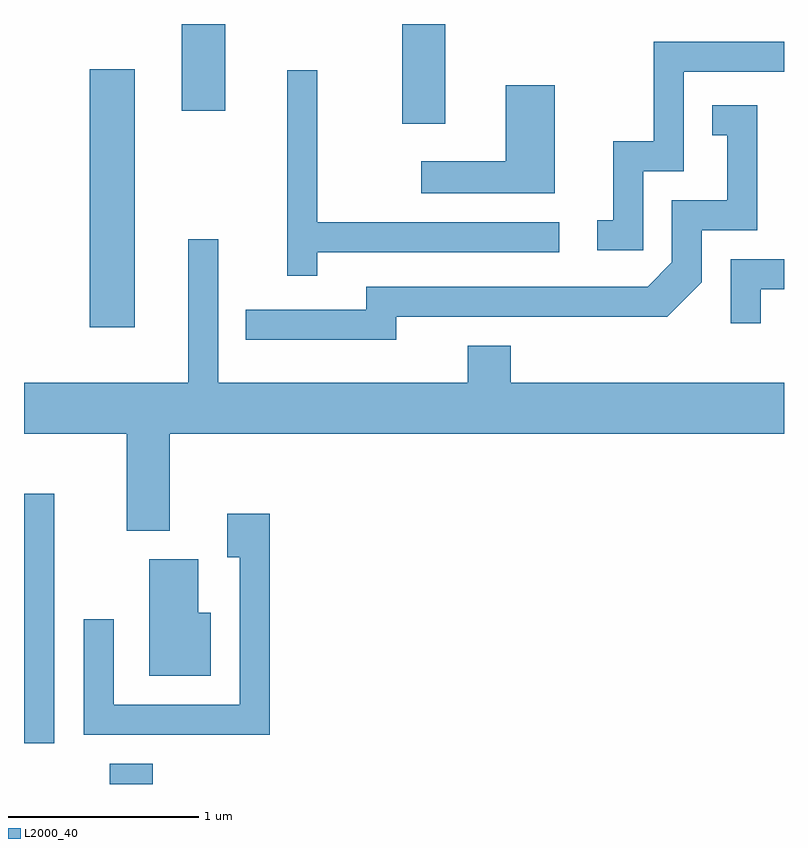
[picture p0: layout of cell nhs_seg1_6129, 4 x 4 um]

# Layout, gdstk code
import gdstk
lib = gdstk.Library(unit=1e-6, precision=1e-09)
def R(c, l, rs):  # rectangles x0, y0, x1, y1
    for r in rs: c.add(gdstk.rectangle(r[:2], r[2:], *l))
def P(c, l, *ps):  # polygons
    for p in ps: c.add(gdstk.Polygon(p, *l))
L2000_40 = (2000, 40)

nhs_seg1_6129 = lib.new_cell('nhs_seg1_6129')
R(nhs_seg1_6129, L2000_40, [(370.061,917.712,370.289,917.819), (369.611,917.926,369.769,919.239), (369.956,920.116,370.194,921.474), (371.601,921.186,371.829,921.712), (370.441,921.256,370.669,921.712)])
P(nhs_seg1_6129, L2000_40, [(372.869,920.936),(373.084,920.936),(373.084,921.461),(373.611,921.461),(373.611,921.619),(372.926,921.619),(372.926,921.094),(372.711,921.094),(372.711,920.679),(372.628,920.679),(372.628,920.521),(372.869,920.521)],
  [(371.154,920.511),(372.428,920.511),(372.428,920.669),(371.154,920.669),(371.154,921.468),(370.996,921.468),(370.996,920.388),(371.154,920.388)],
  [(372.404,921.389),(372.146,921.389),(372.146,920.989),(371.703,920.989),(371.703,920.821),(372.404,920.821)],
  [(371.569,920.171),(372.997,920.171),(373.179,920.354),(373.179,920.626),(373.469,920.626),(373.469,921.284),(373.233,921.284),(373.233,921.126),(373.311,921.126),(373.311,920.784),(373.021,920.784),(373.021,920.457),(372.894,920.329),(371.411,920.329),(371.411,920.209),(370.778,920.209),(370.778,920.051),(371.569,920.051)],
  [(370.379,919.556),(373.611,919.556),(373.611,919.824),(372.174,919.824),(372.174,920.019),(371.946,920.019),(371.946,919.824),(370.634,919.824),(370.634,920.578),(370.476,920.578),(370.476,919.824),(369.611,919.824),(369.611,919.556),(370.151,919.556),(370.151,919.046),(370.379,919.046)],
  [(373.489,920.316),(373.611,920.316),(373.611,920.474),(373.331,920.474),(373.331,920.138),(373.489,920.138)],
  [(370.904,919.134),(370.681,919.134),(370.681,918.906),(370.746,918.906),(370.746,918.129),(370.084,918.129),(370.084,918.578),(369.926,918.578),(369.926,917.971),(370.904,917.971)],
  [(370.594,918.614),(370.529,918.614),(370.529,918.894),(370.271,918.894),(370.271,918.281),(370.594,918.281)])

lib.write_gds('nhs_seg1_6129.gds')
